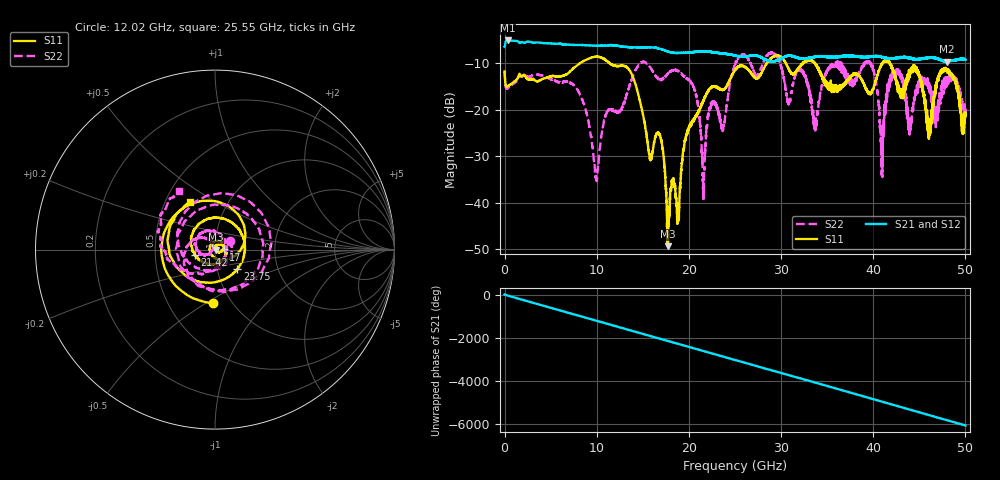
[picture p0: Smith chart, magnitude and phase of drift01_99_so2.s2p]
!Created with skrf (http://scikit-rf.org).
# Hz S RI R 50.0
!freq ReS11 ImS11 ReS21 ImS21 ReS12 ImS12 ReS22 ImS22
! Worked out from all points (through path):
!   10001 points, 300 kHz to 50 GHz, reference 50 ohm
!   highest |S21| = -5.05 dB at 325.3 MHz (marker M1); lowest = -9.6 dB at 48.03 GHz (marker M2)
!   group delay of S21, straight-line fit = 336 ps
!   lowest |S11| = -49.4 dB at 17.7 GHz (marker M3), VSWR 1.01, Z = 50.3 - j0.0816 ohm
!   |S11| at or under -10 dB: start of sweep to 8.163 GHz; 11.43 GHz to 28.42 GHz (16.99 GHz wide, 85.3 % of centre); 41.8 GHz to end of sweep (the widest 3 of 11)
!   |S22| runs from -39.7 to -7.7 dB; largest |S21 - S12| = 0.017
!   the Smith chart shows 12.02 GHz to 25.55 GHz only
!   S11 on the Smith chart (normalised r, x): 12.02 GHz: 0.82, -0.54; 17 GHz: 1.10, +0.00; 21.42 GHz: 0.80, -0.05; 23.75 GHz: 1.25, -0.28; 25.55 GHz: 0.67, +0.39
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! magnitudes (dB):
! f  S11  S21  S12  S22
! 300 kHz  -11.7  -6.4  -6.5  -11.8
! 325.3 MHz  -15.0  -5.0  -5.0  -15.4
! 8.335 GHz  -9.8  -6.0  -6.0  -17.5
! 9.935 GHz  -8.6  -6.2  -6.2  -34.3
! 12.02 GHz  -10.5  -6.1  -6.1  -20.4
! 16.67 GHz  -24.9  -6.8  -6.7  -13.3
! 17 GHz  -26.4  -6.9  -6.9  -13.5
! 17.7 GHz  -49.4  -7.4  -7.4  -12.3
! 20.49 GHz  -22.4  -7.5  -7.6  -14.9
! 21.42 GHz  -18.7  -7.4  -7.4  -29.3
! 22.48 GHz  -15.0  -7.6  -7.6  -18.8
! 23.75 GHz  -15.6  -7.9  -7.9  -23.4
! 25 GHz  -11.4  -8.3  -8.3  -10.4
! 25.55 GHz  -10.5  -8.5  -8.5  -8.3
! 33.34 GHz  -9.4  -8.7  -8.7  -19.3
! 39.5 GHz  -16.6  -8.6  -8.6  -10.0
! 40.94 GHz  -10.1  -8.6  -8.6  -29.2
! 41.67 GHz  -9.7  -8.8  -8.9  -14.8
! 44.78 GHz  -12.1  -9.2  -9.1  -15.2
! 46.1 GHz  -25.2  -8.8  -8.8  -14.9
! 48.03 GHz  -11.6  -9.6  -9.5  -13.5
! 50 GHz  -21.0  -9.2  -9.2  -20.4
